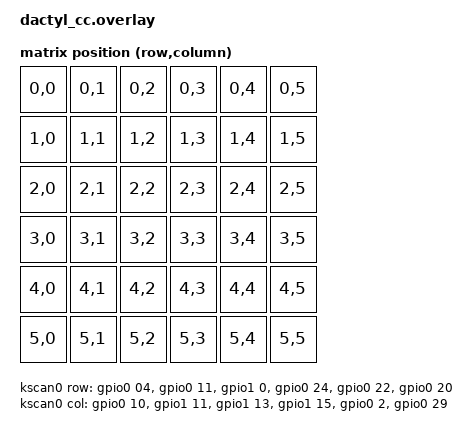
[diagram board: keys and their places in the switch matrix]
#include <dt-bindings/zmk/matrix_transform.h>

/ {
    chosen {
        zmk,kscan = &kscan0;
        zmk,matrix-transform = &default_transform;
    };

    default_transform: keymap_transform_0 {
        compatible = "zmk,matrix-transform";
        columns = <6>;
        rows = <6>;
        
        map = <
        RC(0,0) RC(0,1) RC(0,2) RC(0,3) RC(0,4) RC(0,5)
        RC(1,0) RC(1,1) RC(1,2) RC(1,3) RC(1,4) RC(1,5)
        RC(2,0) RC(2,1) RC(2,2) RC(2,3) RC(2,4) RC(2,5)
        RC(3,0) RC(3,1) RC(3,2) RC(3,3) RC(3,4) RC(3,5)
        RC(4,0) RC(4,1) RC(4,2) RC(4,3) RC(4,4) RC(4,5)
        RC(5,0) RC(5,1) RC(5,2) RC(5,3) RC(5,4) RC(5,5)
        >;
    };

    kscan0: kscan {
        compatible = "zmk,kscan-gpio-matrix";
        wakeup-source;
        diode-direction = "col2row";
            
    row-gpios
        = <&gpio0 04 (GPIO_ACTIVE_HIGH | GPIO_PULL_DOWN)>  // P0.10 - Row 0 (thumb)
        , <&gpio0 11 (GPIO_ACTIVE_HIGH | GPIO_PULL_DOWN)>  // P1.13 - Row 1
        , <&gpio1 0 (GPIO_ACTIVE_HIGH | GPIO_PULL_DOWN)>  // P1.11 - Row 2
        , <&gpio0 24 (GPIO_ACTIVE_HIGH | GPIO_PULL_DOWN)>   // P1.04 - Row 3
        , <&gpio0 22 (GPIO_ACTIVE_HIGH | GPIO_PULL_DOWN)>  // P0.11 - Row 4
        , <&gpio0 20 (GPIO_ACTIVE_HIGH | GPIO_PULL_DOWN)>   // P1.00 - Row 5 (top)
        ;

    col-gpios
        = <&gpio0 10 GPIO_ACTIVE_HIGH>   // P0.07 - Col 0 (pinky)
        , <&gpio1 11 GPIO_ACTIVE_HIGH>   // P0.05 - Col 1
        , <&gpio1 13 GPIO_ACTIVE_HIGH>   // P1.01 - Col 2
        , <&gpio1 15 GPIO_ACTIVE_HIGH>  // P0.28 - Col 3
        , <&gpio0 2 GPIO_ACTIVE_HIGH>   // P0.03 - Col 4
        , <&gpio0 29 GPIO_ACTIVE_HIGH>  // P0.29 - Col 5 (closest to thumb)
        ;
    };
};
